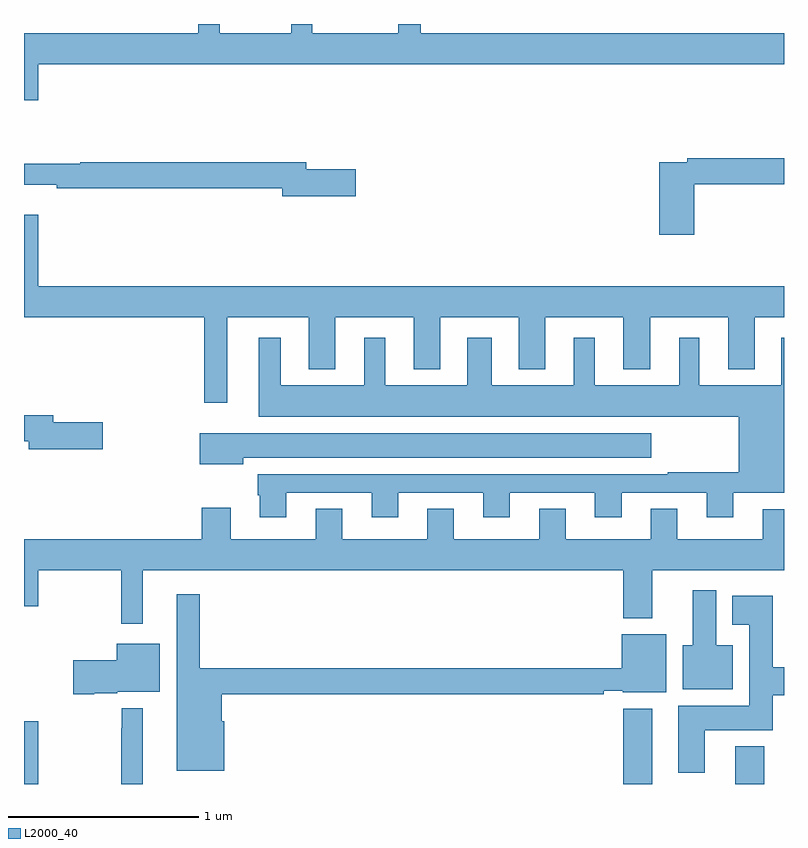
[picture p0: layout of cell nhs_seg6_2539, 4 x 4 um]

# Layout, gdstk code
import gdstk
lib = gdstk.Library(unit=1e-6, precision=1e-09)
def R(c, l, rs):  # rectangles x0, y0, x1, y1
    for r in rs: c.add(gdstk.rectangle(r[:2], r[2:], *l))
def P(c, l, *ps):  # polygons
    for p in ps: c.add(gdstk.Polygon(p, *l))
L2000_40 = (2000, 40)

nhs_seg6_2539 = lib.new_cell('nhs_seg6_2539')
R(nhs_seg6_2539, L2000_40, [(261,991.5,261.076,991.831), (264.155,991.5,264.307,991.897), (264.743,991.5,264.896,991.699)])
P(nhs_seg6_2539, L2000_40, [(261.076,995.288),(265,995.288),(265,995.452),(263.087,995.452),(263.087,995.5),(262.97,995.5),(262.97,995.452),(262.517,995.452),(262.517,995.5),(262.407,995.5),(262.407,995.452),(262.031,995.452),(262.031,995.5),(261.917,995.5),(261.917,995.452),(261,995.452),(261,995.1),(261.076,995.1)],
  [(264.527,994.657),(265,994.657),(265,994.793),(264.49,994.793),(264.49,994.773),(264.344,994.773),(264.344,994.392),(264.527,994.392)],
  [(262.747,994.736),(262.486,994.736),(262.486,994.772),(261.296,994.772),(261.296,994.765),(261,994.765),(261,994.655),(261.172,994.655),(261.172,994.636),(262.358,994.636),(262.358,994.594),(262.747,994.594)],
  [(262.069,993.956),(262.499,993.956),(262.499,993.683),(262.639,993.683),(262.639,993.956),(263.051,993.956),(263.051,993.683),(263.191,993.683),(263.191,993.956),(263.603,993.956),(263.603,993.683),(263.743,993.683),(263.743,993.956),(264.155,993.956),(264.155,993.683),(264.295,993.683),(264.295,993.956),(264.707,993.956),(264.707,993.683),(264.847,993.683),(264.847,993.956),(265,993.956),(265,994.12),(261.076,994.12),(261.076,994.495),(261,994.495),(261,993.956),(261.948,993.956),(261.948,993.507),(262.069,993.507)],
  [(262.381,993.033),(262.829,993.033),(262.829,992.904),(262.969,992.904),(262.969,993.033),(263.417,993.033),(263.417,992.904),(263.557,992.904),(263.557,993.033),(264.005,993.033),(264.005,992.904),(264.145,992.904),(264.145,993.033),(264.593,993.033),(264.593,992.904),(264.733,992.904),(264.733,993.032),(265,993.032),(265,993.85),(264.986,993.85),(264.986,993.598),(264.553,993.598),(264.553,993.85),(264.449,993.85),(264.449,993.598),(264.004,993.598),(264.004,993.85),(263.894,993.85),(263.894,993.598),(263.461,993.598),(263.461,993.85),(263.333,993.85),(263.333,993.598),(262.9,993.598),(262.9,993.85),(262.79,993.85),(262.79,993.598),(262.351,993.598),(262.351,993.85),(262.235,993.85),(262.235,993.434),(264.761,993.434),(264.761,993.142),(264.388,993.142),(264.388,993.129),(262.229,993.129),(262.229,993.021),(262.241,993.021),(262.241,992.904),(262.381,992.904)],
  [(261.415,993.404),(261.154,993.404),(261.154,993.44),(261,993.44),(261,993.304),(261.026,993.304),(261.026,993.262),(261.415,993.262)],
  [(262.153,993.218),(264.301,993.218),(264.301,993.346),(261.924,993.346),(261.924,993.182),(262.153,993.182)],
  [(264.155,992.372),(264.307,992.372),(264.307,992.624),(265,992.624),(265,992.947),(264.887,992.947),(264.887,992.788),(264.439,992.788),(264.439,992.948),(264.299,992.948),(264.299,992.788),(263.851,992.788),(263.851,992.948),(263.711,992.948),(263.711,992.788),(263.263,992.788),(263.263,992.948),(263.123,992.948),(263.123,992.788),(262.675,992.788),(262.675,992.948),(262.535,992.948),(262.535,992.788),(262.087,992.788),(262.087,992.953),(261.935,992.953),(261.935,992.788),(261,992.788),(261,992.436),(261.076,992.436),(261.076,992.624),(261.511,992.624),(261.511,992.343),(261.625,992.343),(261.625,992.624),(264.155,992.624)],
  [(264.73,992.23),(264.643,992.23),(264.643,992.521),(264.521,992.521),(264.521,992.23),(264.467,992.23),(264.467,992),(264.73,992)],
  [(262.054,991.83),(262.042,991.83),(262.042,991.972),(264.05,991.972),(264.05,991.992),(264.15,991.992),(264.15,991.982),(264.379,991.982),(264.379,992.287),(264.146,992.287),(264.146,992.108),(261.925,992.108),(261.925,992.5),(261.803,992.5),(261.803,991.571),(262.054,991.571)],
  [(264.583,991.784),(264.94,991.784),(264.94,991.967),(265,991.967),(265,992.114),(264.94,992.114),(264.94,992.491),(264.728,992.491),(264.728,992.339),(264.818,992.339),(264.818,991.912),(264.443,991.912),(264.443,991.56),(264.583,991.56)],
  [(261.37,991.978),(261.492,991.978),(261.492,991.985),(261.715,991.985),(261.715,992.239),(261.488,992.239),(261.488,992.151),(261.258,992.151),(261.258,991.973),(261.37,991.973)],
  [(261.625,991.9),(261.515,991.9),(261.515,991.793),(261.511,991.793),(261.511,991.5),(261.625,991.5)])

lib.write_gds('nhs_seg6_2539.gds')
